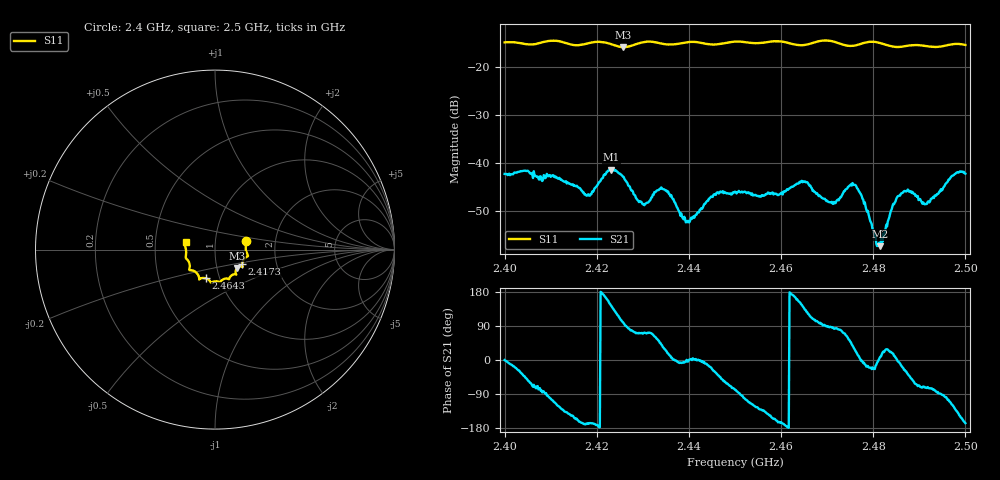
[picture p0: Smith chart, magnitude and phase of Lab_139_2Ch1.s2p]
# Hz S RI R 50
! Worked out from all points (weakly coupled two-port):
!   601 points, 2.4 GHz to 2.5 GHz, reference 50 ohm
!   highest |S21| = -41.33 dB at 2.4232 GHz (marker M1); lowest = -57.3 dB at 2.4815 GHz (marker M2)
!   lowest |S11| = -15.9 dB at 2.4257 GHz (marker M3), VSWR 1.38, Z = 62.5 - j13.1 ohm
!   |S11| at or under -10 dB: start of sweep to end of sweep
!   S12 and S22 are empty: the file has one direction only
!   S11 on the Smith chart (normalised r, x): 2.4 GHz: 1.41, +0.14; 2.4173 GHz: 1.34, -0.23; 2.4643 GHz: 0.86, -0.28; 2.5 GHz: 0.72, +0.06
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2.4e9  0.173 0.0491  0.00772 -2.02e-05  0 0  0 0
2.410333e9  0.184 -0.0346  -0.00206 -0.00716  0 0  0 0
2.416667e9  0.1524 -0.0745  -0.00504 -0.00127  0 0  0 0
2.417333e9  0.1516 -0.082  -0.00464 -0.000922  0 0  0 0
2.423167e9  0.1445 -0.0937  -0.00681 0.00522  0 0  0 0
2.425667e9  0.1233 -0.1024  -0.00127 0.00714  0 0  0 0
2.43e9  0.1173 -0.137  0.00131 0.0035  0 0  0 0
2.433333e9  0.1125 -0.1376  0.00325 0.00412  0 0  0 0
2.435667e9  0.0965 -0.1412  0.00465 0.00116  0 0  0 0
2.439833e9  0.0792 -0.1627  0.00251 -0.000168  0 0  0 0
2.445833e9  0.049 -0.1642  0.0039 -0.00258  0 0  0 0
2.45e9  0.0289 -0.181  0.001 -0.00495  0 0  0 0
2.459833e9  -0.0243 -0.1829  -0.00465 -0.0012  0 0  0 0
2.464333e9  -0.0499 -0.1604  -0.00545 0.00351  0 0  0 0
2.466667e9  -0.0758 -0.1591  -0.00202 0.00513  0 0  0 0
2.471333e9  -0.0878 -0.1614  0.000368 0.00375  0 0  0 0
2.476e9  -0.1164 -0.1192  0.00529 0.00274  0 0  0 0
2.4815e9  -0.1419 -0.106  0.00136 0.000196  0 0  0 0
2.483333e9  -0.1405 -0.0897  0.00237 0.0011  0 0  0 0
2.4865e9  -0.1521 -0.0589  0.00466 -0.00178  0 0  0 0
2.491667e9  -0.1615 -0.0288  0.00104 -0.00363  0 0  0 0
2.5e9  -0.1638 0.0426  -0.00757 -0.00178  0 0  0 0
